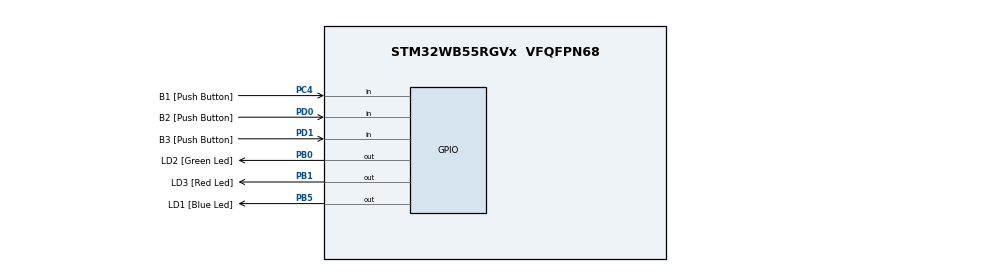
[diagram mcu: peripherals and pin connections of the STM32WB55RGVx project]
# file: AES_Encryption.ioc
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Mcu.Family=STM32WB
Mcu.Name=STM32WB55RGVx
Mcu.Package=VFQFPN68
NVIC.PriorityGroup=NVIC_PRIORITYGROUP_4
OSC_IN.GPIO_Label=RCC_OSC_IN
OSC_IN.Signal=RCC_OSC_IN
OSC_OUT.GPIO_Label=RCC_OSC_OUT
OSC_OUT.Signal=RCC_OSC_OUT
PA11.GPIO_Label=USB_DM
PA11.Signal=USB_DM
PA12.GPIO_Label=USB_DP
PA12.Signal=USB_DP
PA13.GPIO_Label=JTMS
PA13.Signal=SYS_JTMS-SWDIO
PA14.GPIO_Label=JTCK
PA14.Signal=SYS_JTCK-SWCLK
PB0.GPIO_Label=LD2 [Green Led]
PB0.Signal=GPIO_Output
PB1.GPIO_Label=LD3 [Red Led]
PB1.Signal=GPIO_Output
PB3.GPIO_Label=JTDO
PB3.Signal=SYS_JTDO-SWO
PB5.GPIO_Label=LD1 [Blue Led]
PB5.Signal=GPIO_Output
PB6.GPIO_Label=STLINK_RX
PB6.Signal=USART1_TX
PB7.GPIO_Label=STLINK_TX
PB7.Signal=USART1_RX
PC13.GPIO_Label=SYS_WKUP2
PC13.Signal=SYS_WKUP2
PC14-OSC32_IN.GPIO_Label=RCC_OSC32_IN
PC14-OSC32_IN.Signal=RCC_OSC32_IN
PC15-OSC32_OUT.GPIO_Label=RCC_OSC32_OUT
PC15-OSC32_OUT.Signal=RCC_OSC32_OUT
PC4.GPIO_Label=B1 [Push Button]
PC4.Signal=GPIO_Input
PD0.GPIO_Label=B2 [Push Button]
PD0.Signal=GPIO_Input
PD1.GPIO_Label=B3 [Push Button]
PD1.Signal=GPIO_Input
ProjectManager.HeapSize=0x200
ProjectManager.StackSize=0x400
ProjectManager.TargetToolchain=STM32CubeIDE
RCC.ADCFreq_Value=128000000
RCC.AHBFreq_Value=32000000
RCC.APB1Freq_Value=32000000
RCC.APB1TimFreq_Value=32000000
RCC.APB2Freq_Value=32000000
RCC.APB2TimFreq_Value=32000000
RCC.APB3Freq_Value=16000000
RCC.CortexFreq_Value=32000000
RCC.HCLKFreq_Value=32000000
RCC.HSE_VALUE=32000000
RCC.HSI48_VALUE=48000000
RCC.HSI_VALUE=16000000
RCC.LSE_VALUE=32768
RCC.MSIClockRange=RCC_MSIRANGE_10
RCC.SMPSCLockSelection=RCC_SMPSCLKSOURCE_HSI
RCC.SMPSCLockSelectionVirtual=RCC_SMPSCLKSOURCE_HSI
RCC.SMPSCLockSelectionVirtualVirtual=RCC_SMPSCLKSOURCE_HSI
RCC.SMPSDivider=1
RCC.SYSCLKFreq_VALUE=32000000
RCC.USBFreq_Value=128000000
RCC.VCOOutputFreq_Value=256000000
VP_MEMORYMAP_VS_MEMORYMAP.Mode=CurAppReg
board=NUCLEO-WB55RG

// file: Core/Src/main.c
/* USER CODE BEGIN Header */
/**
  ******************************************************************************
  * @file           : main.c
  * @brief          : Main program body
  ******************************************************************************
  * @attention
  *
  * Copyright (c) 2025 STMicroelectronics.
  * All rights reserved.
  *
  * This software is licensed under terms that can be found in the LICENSE file
  * in the root directory of this software component.
  * If no LICENSE file comes with this software, it is provided AS-IS.
  *
  ******************************************************************************
  */
/* USER CODE END Header */
#include "main.h"

void SystemClock_Config(void);
void PeriphCommonClock_Config(void);
static void MX_GPIO_Init(void);

/* USER CODE BEGIN 0 */
int __io_putchar(int ch){
	ITM_SendChar(ch);
	return ch;
}
/* USER CODE END 0 */

int main(void)
{

  /* MCU Configuration--------------------------------------------------------*/

  /* Reset of all peripherals, Initializes the Flash interface and the Systick. */
  HAL_Init();

  /* Configure the system clock */
  SystemClock_Config();

  /* Configure the peripherals common clocks */
  PeriphCommonClock_Config();

  /* Initialize all configured peripherals */
  MX_GPIO_Init();

  /* Infinite loop */
  /* USER CODE BEGIN WHILE */

//  uint8_t cypherkey[16] = {
//      0x2b, 0x7e, 0x15, 0x16,
//      0x28, 0xae, 0xd2, 0xa6,
//      0xab, 0xf7, 0x15, 0x88,
//      0x09, 0xcf, 0x4f, 0x3c
//  };
//
//  uint8_t data[16] = {
//      0x32, 0x43, 0xf6, 0xa8,
//      0x88, 0x5a, 0x30, 0x8d,
//      0x31, 0x31, 0x98, 0xa2,
//      0xe0, 0x37, 0x07, 0x34
//  };

  uint8_t cypherkey[16] = {
      0xc0, 0x53, 0x8e, 0x14,
      0x77, 0x1d, 0x64, 0x98,
      0x2f, 0xb3, 0xe1, 0x0a,
      0xdd, 0x4a, 0x79, 0x65
  };

  uint8_t data[16] = {
      0x8a, 0x4c, 0xb2, 0xe9,
      0x11, 0x57, 0xf0, 0x33,
      0x9e, 0x05, 0xd6, 0x7a,
      0x6f, 0x2c, 0x01, 0xb8
  };

  readData(data);
  AesEncryption(cypherkey, data);
  readData(data);
  AesDecryption(cypherkey, data);
  readData(data);

  TestRoundKey();
  TestAesEncryption();
  TestAesDecryption();

  while (1)
  {
    /* USER CODE END WHILE */

  }
}

void SystemClock_Config(void)
{
  RCC_OscInitTypeDef RCC_OscInitStruct = {0};
  RCC_ClkInitTypeDef RCC_ClkInitStruct = {0};

  /** Configure the main internal regulator output voltage
  */
  __HAL_PWR_VOLTAGESCALING_CONFIG(PWR_REGULATOR_VOLTAGE_SCALE1);

  /** Initializes the RCC Oscillators according to the specified parameters
  * in the RCC_OscInitTypeDef structure.
  */
  RCC_OscInitStruct.OscillatorType = RCC_OSCILLATORTYPE_HSI|RCC_OSCILLATORTYPE_MSI;
  RCC_OscInitStruct.HSIState = RCC_HSI_ON;
  RCC_OscInitStruct.MSIState = RCC_MSI_ON;
  RCC_OscInitStruct.HSICalibrationValue = RCC_HSICALIBRATION_DEFAULT;
  RCC_OscInitStruct.MSICalibrationValue = RCC_MSICALIBRATION_DEFAULT;
  RCC_OscInitStruct.MSIClockRange = RCC_MSIRANGE_10;
  RCC_OscInitStruct.PLL.PLLState = RCC_PLL_NONE;
  if (HAL_RCC_OscConfig(&RCC_OscInitStruct) != HAL_OK)
  {
    Error_Handler();
  }

  /** Configure the SYSCLKSource, HCLK, PCLK1 and PCLK2 clocks dividers
  */
  RCC_ClkInitStruct.ClockType = RCC_CLOCKTYPE_HCLK4|RCC_CLOCKTYPE_HCLK2
                              |RCC_CLOCKTYPE_HCLK|RCC_CLOCKTYPE_SYSCLK
                              |RCC_CLOCKTYPE_PCLK1|RCC_CLOCKTYPE_PCLK2;
  RCC_ClkInitStruct.SYSCLKSource = RCC_SYSCLKSOURCE_MSI;
  RCC_ClkInitStruct.AHBCLKDivider = RCC_SYSCLK_DIV1;
  RCC_ClkInitStruct.APB1CLKDivider = RCC_HCLK_DIV1;
  RCC_ClkInitStruct.APB2CLKDivider = RCC_HCLK_DIV1;
  RCC_ClkInitStruct.AHBCLK2Divider = RCC_SYSCLK_DIV1;
  RCC_ClkInitStruct.AHBCLK4Divider = RCC_SYSCLK_DIV1;

  if (HAL_RCC_ClockConfig(&RCC_ClkInitStruct, FLASH_LATENCY_1) != HAL_OK)
  {
    Error_Handler();
  }
}

void PeriphCommonClock_Config(void)
{
  RCC_PeriphCLKInitTypeDef PeriphClkInitStruct = {0};

  /** Initializes the peripherals clock
  */
  PeriphClkInitStruct.PeriphClockSelection = RCC_PERIPHCLK_SMPS;
  PeriphClkInitStruct.SmpsClockSelection = RCC_SMPSCLKSOURCE_HSI;
  PeriphClkInitStruct.SmpsDivSelection = RCC_SMPSCLKDIV_RANGE0;

  if (HAL_RCCEx_PeriphCLKConfig(&PeriphClkInitStruct) != HAL_OK)
  {
    Error_Handler();
  }
}

static void MX_GPIO_Init(void)
{
  GPIO_InitTypeDef GPIO_InitStruct = {0};

  /* GPIO Ports Clock Enable */
  __HAL_RCC_GPIOC_CLK_ENABLE();
  __HAL_RCC_GPIOB_CLK_ENABLE();
  __HAL_RCC_GPIOA_CLK_ENABLE();
  __HAL_RCC_GPIOD_CLK_ENABLE();

  /*Configure GPIO pin Output Level */
  HAL_GPIO_WritePin(GPIOB, LD2_Pin|LD3_Pin|LD1_Pin, GPIO_PIN_RESET);

  /*Configure GPIO pin : B1_Pin */
  GPIO_InitStruct.Pin = B1_Pin;
  GPIO_InitStruct.Mode = GPIO_MODE_INPUT;
  GPIO_InitStruct.Pull = GPIO_NOPULL;
  HAL_GPIO_Init(B1_GPIO_Port, &GPIO_InitStruct);

  /*Configure GPIO pins : LD2_Pin LD3_Pin LD1_Pin */
  GPIO_InitStruct.Pin = LD2_Pin|LD3_Pin|LD1_Pin;
  GPIO_InitStruct.Mode = GPIO_MODE_OUTPUT_PP;
  GPIO_InitStruct.Pull = GPIO_NOPULL;
  GPIO_InitStruct.Speed = GPIO_SPEED_FREQ_LOW;
  HAL_GPIO_Init(GPIOB, &GPIO_InitStruct);

  /*Configure GPIO pins : USB_DM_Pin USB_DP_Pin */
  GPIO_InitStruct.Pin = USB_DM_Pin|USB_DP_Pin;
  GPIO_InitStruct.Mode = GPIO_MODE_AF_PP;
  GPIO_InitStruct.Pull = GPIO_NOPULL;
  GPIO_InitStruct.Speed = GPIO_SPEED_FREQ_LOW;
  GPIO_InitStruct.Alternate = GPIO_AF10_USB;
  HAL_GPIO_Init(GPIOA, &GPIO_InitStruct);

  /*Configure GPIO pins : B2_Pin B3_Pin */
  GPIO_InitStruct.Pin = B2_Pin|B3_Pin;
  GPIO_InitStruct.Mode = GPIO_MODE_INPUT;
  GPIO_InitStruct.Pull = GPIO_NOPULL;
  HAL_GPIO_Init(GPIOD, &GPIO_InitStruct);

  /*Configure GPIO pins : STLINK_RX_Pin STLINK_TX_Pin */
  GPIO_InitStruct.Pin = STLINK_RX_Pin|STLINK_TX_Pin;
  GPIO_InitStruct.Mode = GPIO_MODE_AF_PP;
  GPIO_InitStruct.Pull = GPIO_NOPULL;
  GPIO_InitStruct.Speed = GPIO_SPEED_FREQ_LOW;
  GPIO_InitStruct.Alternate = GPIO_AF7_USART1;
  HAL_GPIO_Init(GPIOB, &GPIO_InitStruct);

}

void Error_Handler(void)
{
  __disable_irq();
  while (1)
  {
  }
}
